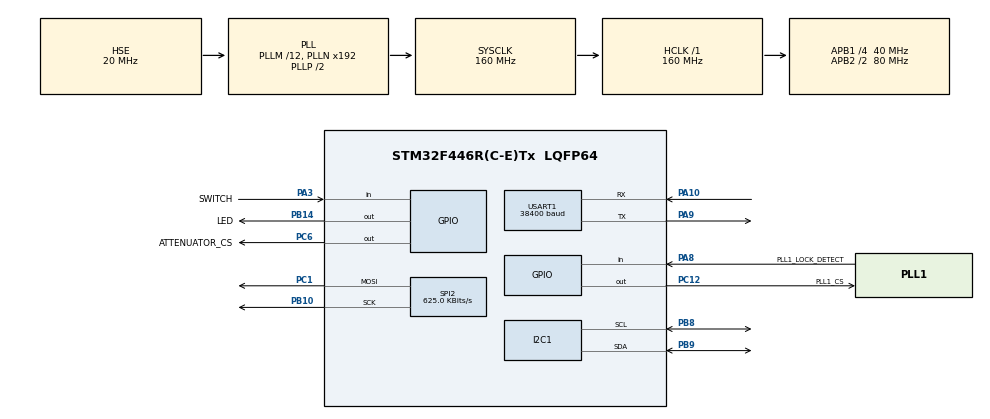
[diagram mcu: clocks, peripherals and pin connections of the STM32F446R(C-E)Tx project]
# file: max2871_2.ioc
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Mcu.Family=STM32F4
Mcu.Name=STM32F446R(C-E)Tx
Mcu.Package=LQFP64
NVIC.PriorityGroup=NVIC_PRIORITYGROUP_4
NVIC.USART1_IRQn=true\:15\:0\:true\:false\:true\:true\:true\:true
PA10.GPIO_Speed=GPIO_SPEED_FREQ_LOW
PA10.Mode=Asynchronous
PA10.Signal=USART1_RX
PA3.GPIO_Label=SWITCH
PA3.GPIO_PuPd=GPIO_PULLUP
PA3.Signal=GPIO_Input
PA8.GPIO_Label=PLL1_LOCK_DETECT
PA8.Signal=GPIO_Input
PA9.GPIO_Speed=GPIO_SPEED_FREQ_LOW
PA9.Mode=Asynchronous
PA9.Signal=USART1_TX
PB10.GPIO_Speed=GPIO_SPEED_FREQ_LOW
PB10.Mode=TX_Only_Simplex_Unidirect_Master
PB10.Signal=SPI2_SCK
PB14.GPIO_Label=LED
PB14.Signal=GPIO_Output
PB8.GPIO_Speed=GPIO_SPEED_FREQ_MEDIUM
PB8.Mode=I2C
PB8.Signal=I2C1_SCL
PB9.GPIO_Speed=GPIO_SPEED_FREQ_MEDIUM
PB9.Mode=I2C
PB9.Signal=I2C1_SDA
PC1.GPIO_Speed=GPIO_SPEED_FREQ_LOW
PC1.Mode=TX_Only_Simplex_Unidirect_Master
PC1.Signal=SPI2_MOSI
PC12.GPIO_Label=PLL1_CS
PC12.Signal=GPIO_Output
PC6.GPIO_Label=ATTENUATOR_CS
PC6.Signal=GPIO_Output
PH0-OSC_IN.Mode=HSE-External-Clock-Source
PH0-OSC_IN.Signal=RCC_OSC_IN
PH1-OSC_OUT.Mode=HSE-External-Clock-Source
PH1-OSC_OUT.Signal=RCC_OSC_OUT
ProjectManager.HeapSize=0x200
ProjectManager.StackSize=0x400
ProjectManager.TargetToolchain=STM32CubeIDE
RCC.AHBFreq_Value=160000000
RCC.APB1CLKDivider=RCC_HCLK_DIV4
RCC.APB1Freq_Value=40000000
RCC.APB1TimFreq_Value=80000000
RCC.APB2CLKDivider=RCC_HCLK_DIV2
RCC.APB2Freq_Value=80000000
RCC.APB2TimFreq_Value=160000000
RCC.CortexFreq_Value=160000000
RCC.HCLKFreq_Value=160000000
RCC.HSE_VALUE=20000000
RCC.PLLM=12
RCC.PLLSourceVirtual=RCC_PLLSOURCE_HSE
RCC.SYSCLKFreq_VALUE=160000000
RCC.SYSCLKSource=RCC_SYSCLKSOURCE_PLLCLK
RCC.USBFreq_Value=160000000
RCC.VCOOutputFreq_Value=320000000
SPI2.BaudRatePrescaler=SPI_BAUDRATEPRESCALER_64
SPI2.CalculateBaudRate=625.0 KBits/s
SPI2.Direction=SPI_DIRECTION_2LINES
SPI2.Mode=SPI_MODE_MASTER
SPI2.VirtualType=VM_MASTER
USART1.BaudRate=38400
USART1.VirtualMode=VM_ASYNC
board=custom

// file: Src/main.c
/* USER CODE BEGIN Header */
/**
  ******************************************************************************
  * @file           : main.c
  * @brief          : Main program body
  ******************************************************************************
  * @attention
  *
  * Copyright (c) 2025 STMicroelectronics.
  * All rights reserved.
  *
  * This software is licensed under terms that can be found in the LICENSE file
  * in the root directory of this software component.
  * If no LICENSE file comes with this software, it is provided AS-IS.
  *
  ******************************************************************************
  */
/* USER CODE END Header */
#include "main.h"

/* USER CODE BEGIN Includes */
#include <string.h> // memcpy
#include <unistd.h> // sbrk
#include <stdio.h> // sprintf
#include "../os/hal_plat.h" // HAL
#include "../os/commands.h"
#include "instances.h"
#include "../os/resource.h"
#include "../os/parser.h"
#include "../os/terminal_input.h"

/* USER CODE END Includes */

/* USER CODE BEGIN PD */

fifo_t* console_usart_stream;

/* USER CODE END PD */

I2C_HandleTypeDef hi2c1;

SPI_HandleTypeDef hspi2;

UART_HandleTypeDef huart1;

void SystemClock_Config(void);
static void MX_GPIO_Init(void);
static void MX_I2C1_Init(void);
static void MX_SPI2_Init(void);
static void MX_USART1_UART_Init(void);

/* USER CODE BEGIN 0 */

void rf_pll_register_write (uint32_t r) {
	uint32_t n = u32_swap_endian(r); // max2871 needs big-endian
	HAL_GPIO_WritePin(PLL1_CS_GPIO_Port, PLL1_CS_Pin, GPIO_PIN_RESET); // LE low
	HAL_SPI_Transmit(&hspi2, (uint8_t*)&n, sizeof(n), 500); // Transmit 32 bits
	HAL_GPIO_WritePin(PLL1_CS_GPIO_Port, PLL1_CS_Pin, GPIO_PIN_SET); // LE high
}

void rf_pll_idle_wait (void) {
	HAL_GPIO_WritePin(PLL1_CS_GPIO_Port, PLL1_CS_Pin, GPIO_PIN_SET);
	HAL_Delay(30);
}

void attenuator_write (bda4700_t* instance, uint8_t n) {
	HAL_GPIO_WritePin(ATTENUATOR_CS_GPIO_Port, ATTENUATOR_CS_Pin, GPIO_PIN_RESET); // LE low
	HAL_SPI_Transmit(&hspi2, &n, sizeof(n), 500); // Transmit 8 bits
	HAL_GPIO_WritePin(ATTENUATOR_CS_GPIO_Port, ATTENUATOR_CS_Pin, GPIO_PIN_SET); // LE high
}

#define AT24C256_I2CADDR (0xA0)
#define AT24C256_PAGE (64)
#define AT24C256_MAX_PAGEADDRESS ((32768) / (AT24C256_PAGE))

int
at24c256_read_page (blockdevice_t* blockdevice, int pageaddress) {
	int ret = AT24C256_PAGE;
	HAL_StatusTypeDef rc;

	if (pageaddress >= AT24C256_MAX_PAGEADDRESS) {
		return 0;
	}
	uint8_t wpayload[2];

	wpayload[0] = ((pageaddress * AT24C256_PAGE) >> 8) & 0xFF; // MSB
	wpayload[1] = (pageaddress * AT24C256_PAGE) & 0xFF; // LSB
	rc = HAL_I2C_Master_Transmit(&hi2c1, AT24C256_I2CADDR, wpayload, sizeof(wpayload), 500);
	if (rc) {
		console_printf("i2c error 1 %i", rc);
		ret = 0;
	}
	rc = HAL_I2C_Master_Receive(&hi2c1, AT24C256_I2CADDR, (uint8_t*)blockdevice->buffer, AT24C256_PAGE, 500);
	if (rc) {
		console_printf("i2c error 2 %i", rc);
		ret = 0;
	}
	return ret;
}

int
at24c256_write_page (blockdevice_t* blockdevice, int pageaddress) {
	int ret = AT24C256_PAGE;
	HAL_StatusTypeDef rc;

	if (pageaddress >= AT24C256_MAX_PAGEADDRESS) {
		return 0;
	}
	uint8_t wpayload[2 + AT24C256_PAGE];

	wpayload[0] = ((pageaddress * AT24C256_PAGE) >> 8) & 0xFF; // MSB
	wpayload[1] = (pageaddress * AT24C256_PAGE) & 0xFF; // LSB
	memcpy(&(wpayload[2]), blockdevice->buffer, AT24C256_PAGE);

	rc = HAL_I2C_Master_Transmit(&hi2c1, AT24C256_I2CADDR, wpayload, sizeof(wpayload), 500);
	if (rc) {
		console_printf("i2c w error %i", rc);
		ret = 0;
	}
	delay_ms(100);

	return ret;
}

#define RAMDRIVE_PAGE (64)
#define RAMDRIVE_SIZE (32768)
#define RAMDRIVE_MAX_PAGEADDRESS ((32768) / (RAMDRIVE_PAGE))

int
ramdrive_read_page (blockdevice_t* blockdevice, int pageaddress) {
	if (pageaddress >= RAMDRIVE_MAX_PAGEADDRESS) {
		return 0;
	}
	memcpy(blockdevice->buffer, blockdevice->context + (pageaddress * RAMDRIVE_PAGE), RAMDRIVE_PAGE);
	return RAMDRIVE_PAGE;
}

int
ramdrive_write_page (blockdevice_t* blockdevice, int pageaddress) {
	if (pageaddress >= RAMDRIVE_MAX_PAGEADDRESS) {
		return 0;
	}
	memcpy(blockdevice->context + (pageaddress * RAMDRIVE_PAGE), blockdevice->buffer, RAMDRIVE_PAGE);
	return RAMDRIVE_PAGE;
}

char get_online_char (void) {
	char c;
	fifo_pop_or_sleep(console_usart_stream, &c);
	return c;
}

int wait_online_char (int timeout) {
	while (fifo_isempty(console_usart_stream)) {
		delay_ms(10);
		timeout -= 10;
		if (timeout <= 0) {
			return 0;
		}
	}
	return 1;
}

void put_online_char (char c) {
	console_putchar(c);
}

/* USER CODE END 0 */

int main(void)
{

  /* USER CODE BEGIN 1 */

  blockdevice_t *eeprom;
  blockdevice_t *ramdrive;
  fs_t *ramfs;

  /* USER CODE END 1 */

  /* MCU Configuration--------------------------------------------------------*/

  /* Reset of all peripherals, Initializes the Flash interface and the Systick. */
  HAL_Init();

  /* USER CODE BEGIN Init */

  console_usart_stream = fifo_create(16, sizeof(char));
  if (!console_usart_stream) {
	  cpu_halt();
  }

  /* USER CODE END Init */

  /* Configure the system clock */
  SystemClock_Config();

  /* Initialize all configured peripherals */
  MX_GPIO_Init();
  MX_I2C1_Init();
  MX_SPI2_Init();
  MX_USART1_UART_Init();
  /* USER CODE BEGIN 2 */

  __HAL_UART_ENABLE_IT(&huart1, UART_IT_RXNE);

  console_printf("");

  scheduler = scheduler_create();
  if (!scheduler) {
	  console_printf("scheduler init error");
	  cpu_halt();
  }

  // Main PLL instance
  rf_pll = max2871_create(rf_pll_register_write, rf_pll_idle_wait);
  if (!rf_pll) {
	  console_printf("MAX2871 init error");
	  cpu_halt();
  }

  // Attenuator instance
  attenuator = bda4700_create(attenuator_write);
  if (!attenuator) {
  	  console_printf("Attenuator init error");
  	  cpu_halt();
  }

  // EEPROM instance
  eeprom = blockdevice_create(AT24C256_PAGE, AT24C256_MAX_PAGEADDRESS, at24c256_read_page, at24c256_write_page, NULL);
  if (!eeprom) {
	  console_printf("EEPROM init error");
	  cpu_halt();
  }
  //eeprom->read_block(eeprom, 0); // XXX This is to try to mitigate a rare I2C startup bug

  eepromfs = fs_create(eeprom);
  if (!eepromfs) {
  	  console_printf("eepromFS init error");
  	  cpu_halt();
  }

  if (!fs_verify(eepromfs)) {
	  delay_ms(2000);
	  console_printf("m1:0x%04x m2:0x%04x entries:%i", eepromfs->params.magic1, eepromfs->params.magic2, eepromfs->params.rootdir_entries);
  	  console_printf("Formatting EEPROM");
  	  //fs_format(eepromfs, 16);
  }

  void* ramdrvmem = t_malloc(RAMDRIVE_SIZE);
  if (!ramdrvmem) {
  	  console_printf("RAMDRIVE alloc error");
  	  cpu_halt();
    }
  // RAM instance
  ramdrive = blockdevice_create(RAMDRIVE_PAGE, RAMDRIVE_MAX_PAGEADDRESS, ramdrive_read_page, ramdrive_write_page, ramdrvmem);
  if (!ramdrive) {
	  console_printf("RAMDRIVE init error");
	  cpu_halt();
  }

  ramfs = fs_create(ramdrive);
  if (!ramfs) {
  	  console_printf("ramFS init error");
  	  cpu_halt();
  }
  fs_format(ramfs, 16); // Always format the ramdrive at each stratup

  fs = fs_broker_create();
  if (!fs) {
	  console_printf("FSbroker init error");
	  cpu_halt();
  }

  fs_broker_register_fs(fs,
		  	  	  	    eepromfs,
						'E',
		  	  	  	    (int (*)(void*, char*, int)) fs_open,
						(void (*) (void*, int)) fs_close,
						(void (*) (void*, int)) fs_rewind,
						(int (*) (void*, int, char*, int)) fs_read,
						(int (*) (void*, int, int)) fs_watch_read,
						(int (*) (void*, int, char*, int)) fs_write,
						(int (*) (void*, char*)) fs_delete,
						(int (*) (void*)) fs_opendir,
						(int (*) (void*, char**, int*)) fs_walkdir,
						(int (*) (void*)) fs_closedir);

  fs_broker_register_fs(fs,
		  	  	  	    ramfs,
						'M',
		  	  	  	    (int (*)(void*, char*, int)) fs_open,
						(void (*) (void*, int)) fs_close,
						(void (*) (void*, int)) fs_rewind,
						(int (*) (void*, int, char*, int)) fs_read,
						(int (*) (void*, int, int)) fs_watch_read,
						(int (*) (void*, int, char*, int)) fs_write,
						(int (*) (void*, char*)) fs_delete,
						(int (*) (void*)) fs_opendir,
						(int (*) (void*, char**, int*)) fs_walkdir,
						(int (*) (void*)) fs_closedir);

  program = program_create(20, 80); // 20 lines, 80 characters each -> 1.6k max program size
  if (!program) {
  	  console_printf("program init error");
  	  cpu_halt();
  }

  terminal_input_t* terminal = terminal_input_create(get_online_char,
		  	  	  	  	  	  	  	  	  	  	  	 wait_online_char,
													 put_online_char,
													 1,
													 program->header.fields.linelen - 2);
  if (!terminal) {
  	  console_printf("terminal init error");
  	  cpu_halt();
  }

  generic_fs_t *devfs = generic_fs_create();
  if (!ramfs) {
	  console_printf("devfs init error");
	  cpu_halt();
  }

  generic_file_t *nullfile = generic_file_create ("null", NULL,
													  nullfile_open,
													  nullfile_close,
													  nullfile_read,
													  nullfile_watch_read,
													  nullfile_write);

  if (generic_fs_register_file(devfs, nullfile) < 0) {
	  console_printf("file reg error");
	  cpu_halt();
  }

  generic_file_t *confile = generic_file_create ("con", terminal,
													  nullfile_open,
													  nullfile_close,
													  consolefile_readline_canonical,
													  consolefile_watch_read,
													  consolefile_write);

  if (generic_fs_register_file(devfs, confile) < 0) {
	  console_printf("file reg error");
	  cpu_halt();
  }

  fs_broker_register_fs(fs,
		  	  	  	    devfs,
						'D',
		  	  	  	    (int (*)(void*, char*, int)) generic_fs_open,
						(void (*) (void*, int)) generic_fs_close,
						(void (*) (void*, int)) generic_fs_rewind,
						(int (*) (void*, int, char*, int)) generic_fs_read,
						(int (*) (void*, int, int)) generic_fs_watch_read,
						(int (*) (void*, int, char*, int)) generic_fs_write,
						(int (*) (void*, char*)) generic_fs_delete,
						(int (*) (void*)) generic_fs_opendir,
						(int (*) (void*, char**, int*)) generic_fs_walkdir,
						(int (*) (void*)) generic_fs_closedir);

  setup_commands();
  setup_persona_commands();

  ledflash(2);

  if (load_devicecfg()) {
  	  console_printf("config loaded");
  } else {
  	  set_rf_frequency(915000);
  	  set_rf_level(-20);
  	  set_rf_output(1);
  	  cfg_override();
  	  print_cfg();
  }

  program_ip = 0;
  program_run = 0;
  subroutine_sp = 0;

  int fcon = open_f(fs, "D:con", 0);
  if (fcon < 0) {
	  console_printf("conio file error");
	  cpu_halt();
  }

  iostack = NULL;
  stdiostack_push(&iostack, fcon, fcon, fcon);

  if (load_autorun_program()) {
  	  console_printf("program loaded");
  	  if (!switchbreak()) {
  		  execute_program(program, NULL, NULL);
  	  }
  }

  /* USER CODE END 2 */

  /* Infinite loop */
  /* USER CODE BEGIN WHILE */
  while (1)
  {
	  command_line_loop();
	  printf_f(STDERR, "respawning..\n");

    /* USER CODE END WHILE */

  }
}

void SystemClock_Config(void)
{
  RCC_OscInitTypeDef RCC_OscInitStruct = {0};
  RCC_ClkInitTypeDef RCC_ClkInitStruct = {0};

  /** Configure the main internal regulator output voltage
  */
  __HAL_RCC_PWR_CLK_ENABLE();
  __HAL_PWR_VOLTAGESCALING_CONFIG(PWR_REGULATOR_VOLTAGE_SCALE1);

  /** Initializes the RCC Oscillators according to the specified parameters
  * in the RCC_OscInitTypeDef structure.
  */
  RCC_OscInitStruct.OscillatorType = RCC_OSCILLATORTYPE_HSE;
  RCC_OscInitStruct.HSEState = RCC_HSE_BYPASS;
  RCC_OscInitStruct.PLL.PLLState = RCC_PLL_ON;
  RCC_OscInitStruct.PLL.PLLSource = RCC_PLLSOURCE_HSE;
  RCC_OscInitStruct.PLL.PLLM = 12;
  RCC_OscInitStruct.PLL.PLLN = 192;
  RCC_OscInitStruct.PLL.PLLP = RCC_PLLP_DIV2;
  RCC_OscInitStruct.PLL.PLLQ = 2;
  RCC_OscInitStruct.PLL.PLLR = 2;
  if (HAL_RCC_OscConfig(&RCC_OscInitStruct) != HAL_OK)
  {
    Error_Handler();
  }

  /** Initializes the CPU, AHB and APB buses clocks
  */
  RCC_ClkInitStruct.ClockType = RCC_CLOCKTYPE_HCLK|RCC_CLOCKTYPE_SYSCLK
                              |RCC_CLOCKTYPE_PCLK1|RCC_CLOCKTYPE_PCLK2;
  RCC_ClkInitStruct.SYSCLKSource = RCC_SYSCLKSOURCE_PLLCLK;
  RCC_ClkInitStruct.AHBCLKDivider = RCC_SYSCLK_DIV1;
  RCC_ClkInitStruct.APB1CLKDivider = RCC_HCLK_DIV4;
  RCC_ClkInitStruct.APB2CLKDivider = RCC_HCLK_DIV2;

  if (HAL_RCC_ClockConfig(&RCC_ClkInitStruct, FLASH_LATENCY_5) != HAL_OK)
  {
    Error_Handler();
  }
}

static void MX_I2C1_Init(void)
{

  hi2c1.Instance = I2C1;
  hi2c1.Init.ClockSpeed = 100000;
  hi2c1.Init.DutyCycle = I2C_DUTYCYCLE_2;
  hi2c1.Init.OwnAddress1 = 0;
  hi2c1.Init.AddressingMode = I2C_ADDRESSINGMODE_7BIT;
  hi2c1.Init.DualAddressMode = I2C_DUALADDRESS_DISABLE;
  hi2c1.Init.OwnAddress2 = 0;
  hi2c1.Init.GeneralCallMode = I2C_GENERALCALL_DISABLE;
  hi2c1.Init.NoStretchMode = I2C_NOSTRETCH_DISABLE;
  if (HAL_I2C_Init(&hi2c1) != HAL_OK)
  {
    Error_Handler();
  }

}

static void MX_SPI2_Init(void)
{

  /* SPI2 parameter configuration*/
  hspi2.Instance = SPI2;
  hspi2.Init.Mode = SPI_MODE_MASTER;
  hspi2.Init.Direction = SPI_DIRECTION_2LINES;
  hspi2.Init.DataSize = SPI_DATASIZE_8BIT;
  hspi2.Init.CLKPolarity = SPI_POLARITY_LOW;
  hspi2.Init.CLKPhase = SPI_PHASE_1EDGE;
  hspi2.Init.NSS = SPI_NSS_SOFT;
  hspi2.Init.BaudRatePrescaler = SPI_BAUDRATEPRESCALER_64;
  hspi2.Init.FirstBit = SPI_FIRSTBIT_MSB;
  hspi2.Init.TIMode = SPI_TIMODE_DISABLE;
  hspi2.Init.CRCCalculation = SPI_CRCCALCULATION_DISABLE;
  hspi2.Init.CRCPolynomial = 10;
  if (HAL_SPI_Init(&hspi2) != HAL_OK)
  {
    Error_Handler();
  }

}

static void MX_USART1_UART_Init(void)
{

  huart1.Instance = USART1;
  huart1.Init.BaudRate = 38400;
  huart1.Init.WordLength = UART_WORDLENGTH_8B;
  huart1.Init.StopBits = UART_STOPBITS_1;
  huart1.Init.Parity = UART_PARITY_NONE;
  huart1.Init.Mode = UART_MODE_TX_RX;
  huart1.Init.HwFlowCtl = UART_HWCONTROL_NONE;
  huart1.Init.OverSampling = UART_OVERSAMPLING_16;
  if (HAL_UART_Init(&huart1) != HAL_OK)
  {
    Error_Handler();
  }

}

static void MX_GPIO_Init(void)
{
  GPIO_InitTypeDef GPIO_InitStruct = {0};

  /* GPIO Ports Clock Enable */
  __HAL_RCC_GPIOH_CLK_ENABLE();
  __HAL_RCC_GPIOC_CLK_ENABLE();
  __HAL_RCC_GPIOA_CLK_ENABLE();
  __HAL_RCC_GPIOB_CLK_ENABLE();

  /*Configure GPIO pin Output Level */
  HAL_GPIO_WritePin(LED_GPIO_Port, LED_Pin, GPIO_PIN_RESET);

  /*Configure GPIO pin Output Level */
  HAL_GPIO_WritePin(GPIOC, ATTENUATOR_CS_Pin|PLL1_CS_Pin, GPIO_PIN_RESET);

  /*Configure GPIO pin : SWITCH_Pin */
  GPIO_InitStruct.Pin = SWITCH_Pin;
  GPIO_InitStruct.Mode = GPIO_MODE_INPUT;
  GPIO_InitStruct.Pull = GPIO_PULLUP;
  HAL_GPIO_Init(SWITCH_GPIO_Port, &GPIO_InitStruct);

  /*Configure GPIO pin : LED_Pin */
  GPIO_InitStruct.Pin = LED_Pin;
  GPIO_InitStruct.Mode = GPIO_MODE_OUTPUT_PP;
  GPIO_InitStruct.Pull = GPIO_NOPULL;
  GPIO_InitStruct.Speed = GPIO_SPEED_FREQ_LOW;
  HAL_GPIO_Init(LED_GPIO_Port, &GPIO_InitStruct);

  /*Configure GPIO pins : ATTENUATOR_CS_Pin PLL1_CS_Pin */
  GPIO_InitStruct.Pin = ATTENUATOR_CS_Pin|PLL1_CS_Pin;
  GPIO_InitStruct.Mode = GPIO_MODE_OUTPUT_PP;
  GPIO_InitStruct.Pull = GPIO_NOPULL;
  GPIO_InitStruct.Speed = GPIO_SPEED_FREQ_LOW;
  HAL_GPIO_Init(GPIOC, &GPIO_InitStruct);

  /*Configure GPIO pin : PLL1_LOCK_DETECT_Pin */
  GPIO_InitStruct.Pin = PLL1_LOCK_DETECT_Pin;
  GPIO_InitStruct.Mode = GPIO_MODE_INPUT;
  GPIO_InitStruct.Pull = GPIO_NOPULL;
  HAL_GPIO_Init(PLL1_LOCK_DETECT_GPIO_Port, &GPIO_InitStruct);

}

void Error_Handler(void)
{
  __disable_irq();
  while (1)
  {
  }
}
